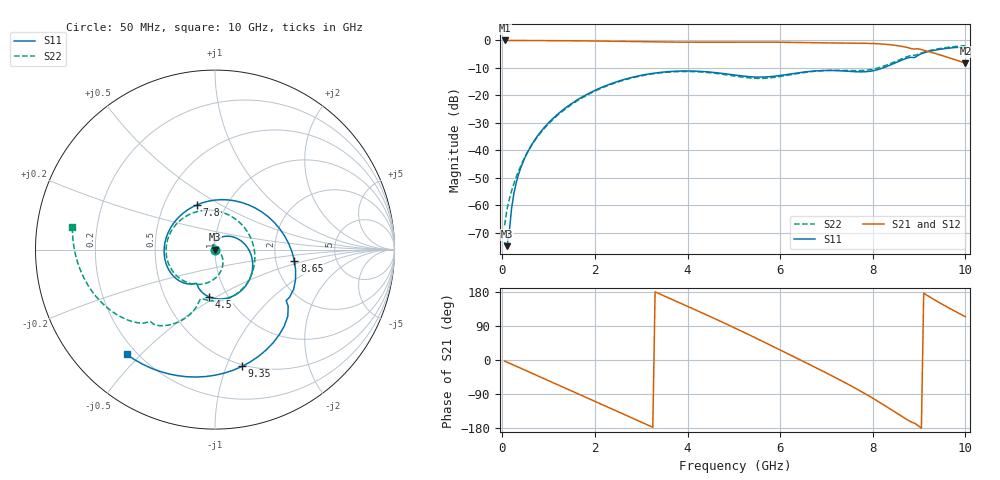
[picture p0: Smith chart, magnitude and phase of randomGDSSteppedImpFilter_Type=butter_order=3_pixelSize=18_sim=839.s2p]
! freq	dB(S11)	phase(S11)	dB(S12)	phase(S12)
!  dB(S21)	phase(S21)	dB(S22)	phase(S22)
!S-par simulation data
#  GHz  S  DB  R 50
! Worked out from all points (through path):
!   200 points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, 50 MHz to 10 GHz, reference 50 ohm
!   highest |S21| = -0.01 dB at 50 MHz (marker M1); lowest = -8.3 dB at 10 GHz (marker M2)
!   group delay of S21, straight-line fit = 166 ps
!   lowest |S11| = -74.8 dB at 100 MHz (marker M3), VSWR 1.00, Z = 50 - j0.00181 ohm
!   |S11| at or under -10 dB: start of sweep to 8.22 GHz
!   |S22| runs from -67.2 to -1.9 dB; largest |S21 - S12| = 0
!   S11 on the Smith chart (normalised r, x): 50 MHz: 1.00, -0.00; 4.5 GHz: 0.82, -0.46; 7.8 GHz: 0.73, +0.39; 8.65 GHz: 2.54, -0.41; 9.35 GHz: 0.48, -1.14; 10 GHz: 0.16, -0.46
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0.05  -73.60 -42.8  -0.01 -2.8  -0.01 -2.8  -67.24 -27.4
0.1  -74.80 -5.7  -0.01 -5.5  -0.01 -5.5  -61.55 -6.1
0.15  -69.84 95.7  -0.02 -8.2  -0.02 -8.2  -57.79 2.4
0.2  -61.11 126.8  -0.02 -10.9  -0.02 -10.9  -54.76 4.5
0.3  -51.82 137.0  -0.03 -16.3  -0.03 -16.3  -49.69 1.3
0.55  -40.48 129.3  -0.04 -29.9  -0.04 -29.9  -40.47 -11.3
1.05  -29.07 97.3  -0.07 -57.1  -0.07 -57.1  -29.43 -32.4
1.75  -20.32 50.7  -0.15 -95.4  -0.15 -95.4  -20.62 -61.8
2.65  -14.10 -5.2  -0.35 -144.7  -0.35 -144.7  -14.31 -104.3
3.4  -11.64 -47.2  -0.54 174.4  -0.54 174.4  -11.81 -143.8
3.9  -11.11 -72.0  -0.63 147.1  -0.63 147.1  -11.29 -172.9
4.5  -11.52 -97.2  -0.64 114.1  -0.64 114.1  -11.77 146.8
5.05  -12.64 -112.8  -0.59 82.8  -0.59 82.8  -13.03 100.2
5.95  -12.86 -122.9  -0.63 29.5  -0.63 29.5  -13.26 2.1
6.7  -11.17 -149.4  -0.82 -15.9  -0.82 -15.9  -11.27 -62.5
7.3  -11.04 168.4  -0.94 -53.2  -0.94 -53.2  -10.86 -94.6
7.8  -11.41 111.9  -1.03 -86.6  -1.03 -86.6  -10.90 -106.1
8.35  -9.14 31.3  -1.51 -127.1  -1.51 -127.1  -8.61 -110.0
8.65  -6.99 -8.2  -2.21 -150.4  -2.21 -150.4  -6.52 -119.0
9.05  -4.81 -47.8  -3.32 -179.7  -3.32 -179.7  -4.54 -136.5
9.35  -3.51 -76.9  -4.74 157.6  -4.74 157.6  -3.25 -152.9
10  -2.34 -130.1  -8.30 114.2  -8.30 114.2  -1.89 171.1
